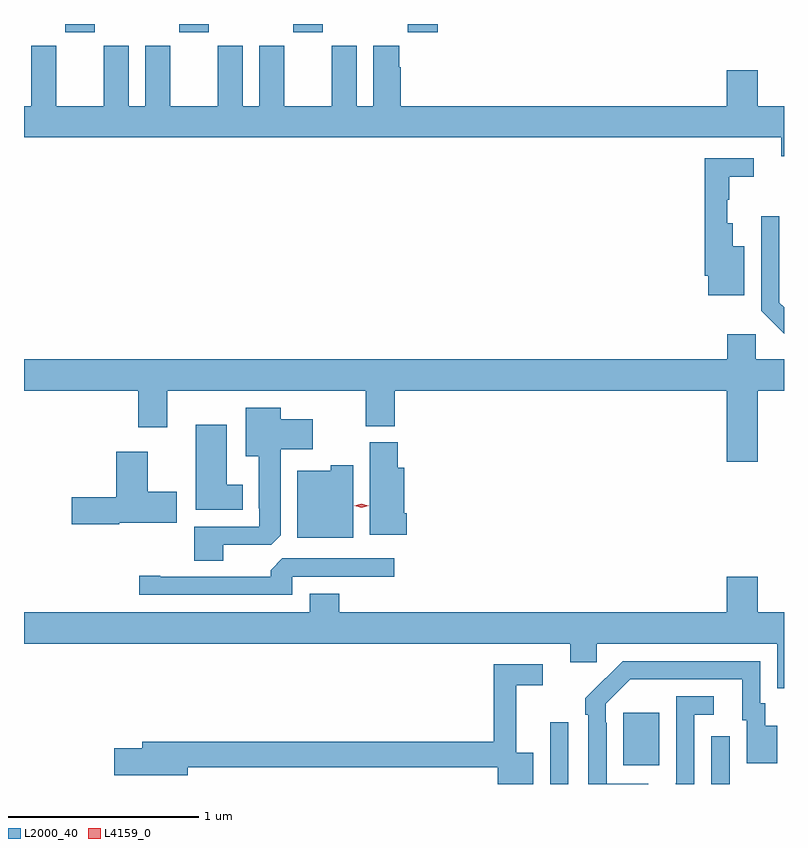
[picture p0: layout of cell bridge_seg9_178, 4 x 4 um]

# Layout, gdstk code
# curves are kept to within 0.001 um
import gdstk
lib = gdstk.Library(unit=1e-6, precision=1e-09)
def R(c, l, rs):  # rectangles x0, y0, x1, y1
    for r in rs: c.add(gdstk.rectangle(r[:2], r[2:], *l))
def A(c, l, x, y, w, h, nx, ny, dx, dy):  # array of equal rectangles
    R(c, l, [(x+i*dx, y+j*dy, x+i*dx+w, y+j*dy+h) for i in range(nx) for j in range(ny)])
def P(c, l, *ps):  # polygons
    for p in ps: c.add(gdstk.Polygon(p, *l))
L2000_40 = (2000, 40)
L4159_0 = (4159, 0)

bridge_seg9_178 = lib.new_cell('bridge_seg9_178')
A(bridge_seg9_178, L2000_40, 149.539, 1240.929, 0.155, 0.044, 3, 1, 0.6, 0)
R(bridge_seg9_178, L2000_40, [(152.091,1236.973,152.187,1237.297), (152.94,1236.973,153.036,1237.225), (152.477,1237.073,152.665,1237.348), (151.343,1240.929,151.499,1240.973)])
P(bridge_seg9_178, L2000_40, [(153.322,1240.54),(153.184,1240.54),(153.184,1240.729),(153.02,1240.729),(153.02,1240.54),(151.304,1240.54),(151.304,1240.745),(151.297,1240.745),(151.297,1240.858),(151.16,1240.858),(151.16,1240.54),(151.072,1240.54),(151.072,1240.858),(150.941,1240.858),(150.941,1240.54),(150.691,1240.54),(150.691,1240.858),(150.56,1240.858),(150.56,1240.54),(150.472,1240.54),(150.472,1240.858),(150.341,1240.858),(150.341,1240.54),(150.091,1240.54),(150.091,1240.858),(149.96,1240.858),(149.96,1240.54),(149.872,1240.54),(149.872,1240.858),(149.741,1240.858),(149.741,1240.54),(149.491,1240.54),(149.491,1240.858),(149.36,1240.858),(149.36,1240.54),(149.322,1240.54),(149.322,1240.376),(153.308,1240.376),(153.308,1240.278),(153.322,1240.278)],
  [(153.112,1239.802),(153.052,1239.802),(153.052,1239.925),(153.023,1239.925),(153.023,1240.047),(153.034,1240.047),(153.034,1240.168),(153.163,1240.168),(153.163,1240.266),(152.905,1240.266),(152.905,1239.649),(152.924,1239.649),(152.924,1239.545),(153.112,1239.545)],
  [(153.322,1239.482),(153.297,1239.507),(153.297,1239.961),(153.201,1239.961),(153.201,1239.465),(153.322,1239.344)],
  [(153.184,1239.044),(153.322,1239.044),(153.322,1239.208),(153.174,1239.208),(153.174,1239.34),(153.023,1239.34),(153.023,1239.208),(149.322,1239.208),(149.322,1239.044),(149.924,1239.044),(149.924,1238.85),(150.076,1238.85),(150.076,1239.044),(151.121,1239.044),(151.121,1238.857),(151.274,1238.857),(151.274,1239.044),(153.02,1239.044),(153.02,1238.67),(153.184,1238.67)],
  [(150.37,1238.232),(150.624,1238.232),(150.673,1238.281),(150.673,1238.735),(150.841,1238.735),(150.841,1238.893),(150.673,1238.893),(150.673,1238.953),(150.488,1238.953),(150.488,1238.699),(150.557,1238.699),(150.557,1238.425),(150.561,1238.425),(150.561,1238.328),(150.218,1238.328),(150.218,1238.149),(150.37,1238.149)],
  [(150.472,1238.548),(150.388,1238.548),(150.388,1238.863),(150.227,1238.863),(150.227,1238.417),(150.472,1238.417)],
  [(151.337,1238.398),(151.324,1238.398),(151.324,1238.638),(151.289,1238.638),(151.289,1238.772),(151.142,1238.772),(151.142,1238.286),(151.337,1238.286)],
  [(149.823,1238.348),(150.127,1238.348),(150.127,1238.511),(149.974,1238.511),(149.974,1238.722),(149.807,1238.722),(149.807,1238.483),(149.574,1238.483),(149.574,1238.341),(149.823,1238.341)],
  [(151.054,1238.65),(150.936,1238.65),(150.936,1238.623),(150.761,1238.623),(150.761,1238.27),(151.054,1238.27)],
  [(150.735,1238.064),(151.27,1238.064),(151.27,1238.16),(150.681,1238.16),(150.62,1238.098),(150.62,1238.064),(150.04,1238.064),(150.04,1238.069),(149.928,1238.069),(149.928,1237.968),(150.735,1237.968)],
  [(153.322,1237.876),(153.184,1237.876),(153.184,1238.065),(153.02,1238.065),(153.02,1237.876),(150.98,1237.876),(150.98,1237.975),(150.827,1237.975),(150.827,1237.876),(149.322,1237.876),(149.322,1237.712),(152.198,1237.712),(152.198,1237.614),(152.337,1237.614),(152.337,1237.712),(153.287,1237.712),(153.287,1237.477),(153.322,1237.477)],
  [(152.608,1236.975),(152.388,1236.975),(152.388,1237.295),(152.385,1237.295),(152.385,1237.395),(152.514,1237.524),(153.101,1237.524),(153.101,1237.308),(153.125,1237.308),(153.125,1237.083),(153.286,1237.083),(153.286,1237.279),(153.223,1237.279),(153.223,1237.398),(153.198,1237.398),(153.198,1237.62),(152.474,1237.62),(152.277,1237.425),(152.277,1237.337),(152.292,1237.337),(152.292,1236.973),(152.608,1236.973)],
  [(152.002,1237.138),(151.913,1237.138),(151.913,1237.494),(152.053,1237.494),(152.053,1237.602),(151.795,1237.602),(151.795,1237.196),(149.945,1237.196),(149.945,1237.16),(149.796,1237.16),(149.796,1237.018),(150.184,1237.018),(150.184,1237.06),(151.815,1237.06),(151.815,1236.973),(152.002,1236.973)],
  [(152.85,1237.338),(152.953,1237.338),(152.953,1237.434),(152.754,1237.434),(152.754,1236.977),(152.753,1236.977),(152.753,1236.973),(152.85,1236.973)])
P(bridge_seg9_178, L4159_0, [(151.099,1238.427),(151.061,1238.437),(151.061,1238.437),(151.061,1238.437),(151.098,1238.447),(151.136,1238.437),(151.136,1238.437),(151.136,1238.437)])

lib.write_gds('bridge_seg9_178.gds')
